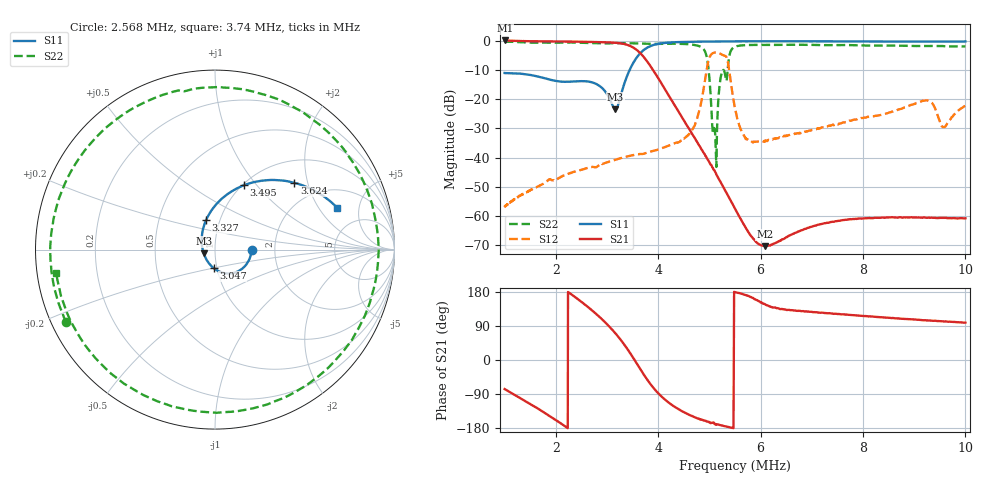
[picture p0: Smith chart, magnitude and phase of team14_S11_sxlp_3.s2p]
! TTR506A,Tektronix,B010463,Application version 2.0.1.4ead5a2e Firmware version 066185400
! Freq ReS11 ImS11 ReS21 ImS21 ReS12 ImS12 ReS22 ImS22
# HZ S RI R 50
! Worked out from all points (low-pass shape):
!   1024 points, 1 MHz to 10 MHz, reference 50 ohm
!   highest |S21| = 0.13 dB at 1.002 MHz (marker M1); lowest = -70.4 dB at 6.081 MHz (marker M2)
!   |S21| within 3 dB of the highest: start of sweep to 3.561 MHz
!   lowest |S11| = -23.5 dB at 3.166 MHz (marker M3), VSWR 1.14, Z = 44 - j1.84 ohm
!   |S11| at or under -10 dB: start of sweep to 3.442 MHz
!   |S22| runs from -43.2 to -0.3 dB; largest |S21 - S12| = 1
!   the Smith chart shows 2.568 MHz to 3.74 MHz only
!   S11 on the Smith chart (normalised r, x): 2.568 MHz: 1.51, -0.00; 3.047 MHz: 0.96, -0.20; 3.327 MHz: 0.86, +0.29; 3.495 MHz: 1.02, +0.86; 3.624 MHz: 1.48, +1.66; 3.74 MHz: 3.09, +2.99
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1000000  0.099 -0.2626  0.234 -0.9873  0.00112 0.00089  0.6368 -0.7236
1002253  0.0966 -0.2631  0.2313 -0.988  0.00115 0.00089  0.6288 -0.7304
1759368  -0.2113 0.0942  -0.7198 -0.6635  -0.00356 0.000189  -0.0174 0.9319
2101748  0.00316 0.2001  -0.9517 -0.2095  0.00125 0.00451  0.9152 -0.1762
2505111  0.2002 0.037  -0.8581 0.4384  0.00395 -0.00475  -0.6518 -0.6603
2567909  0.2034 -0.00148  -0.7996 0.5329  0.00226 -0.00602  -0.8293 -0.4034
3046990  -0.00796 -0.1028  0.0325 0.9386  -0.00648 0.00553  0.499 0.7583
3165838  -0.0632 -0.0208  0.3146 0.8719  -0.00176 0.00901  0.8617 0.2916
3326551  -0.0498 0.1645  0.6504 0.6012  0.00676 0.00751  0.762 -0.5047
3495421  0.1614 0.3587  0.7724 0.1256  0.0109 -0.00151  0.00912 -0.9091
3623596  0.4428 0.372  0.6139 -0.204  0.00716 -0.00892  -0.6077 -0.6639
3739599  0.6815 0.2329  0.3665 -0.3399  0.000388 -0.0117  -0.8848 -0.1291
4000834  0.8421 -0.2845  0.00881 -0.2289  -0.0137 -0.000102  -0.139 0.8762
4497606  0.4828 -0.8267  -0.0322 -0.0297  0.0209 -0.000984  0.119 -0.8778
5101788  0.039 -0.9737  -0.00587 -0.00117  -0.5013 -0.3771  -0.0109 0.0291
5507544  -0.1842 -0.9627  -0.00129 2.52e-05  -0.0179 0.0623  0.784 0.1333
6080912  -0.4187 -0.8885  -0.000256 0.000161  -0.0172 -0.00715  -0.4782 0.7031
6623909  -0.5783 -0.7946  -0.000322 0.000367  0.0243 -0.00502  0.0326 -0.8554
7007326  -0.6635 -0.7223  -0.000392 0.000523  -0.0287 -0.00829  -0.4606 0.7169
8503912  -0.8627 -0.4478  -0.00034 0.000875  0.0316 -0.0496  -0.381 -0.7406
8855520  -0.8895 -0.3886  -0.000297 0.000897  -0.0648 0.0349  -0.1014 0.8118
1e7  -0.9516 -0.2179  -0.000135 0.000897  0.0663 0.0395  0.7029 -0.3863
